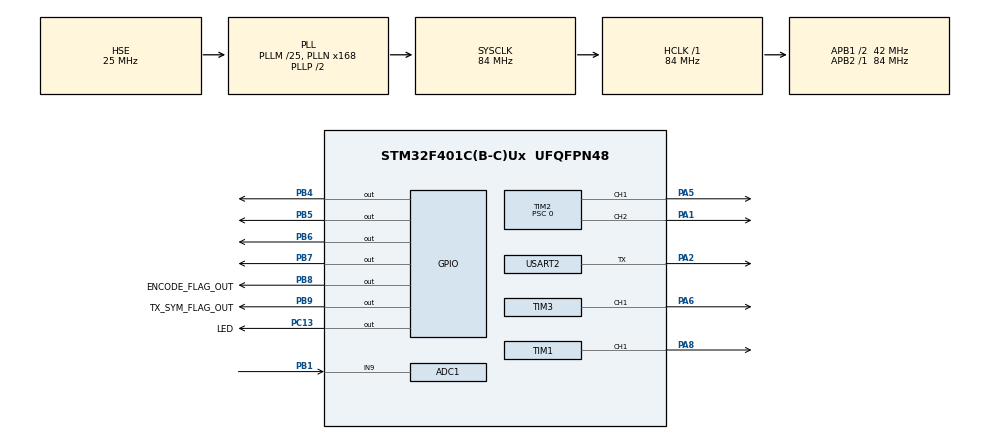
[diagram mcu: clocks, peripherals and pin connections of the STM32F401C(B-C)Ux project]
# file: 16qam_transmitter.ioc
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ADC1.Channel-1\#ChannelRegularConversion=ADC_CHANNEL_9
ADC1.ClockPrescaler=ADC_CLOCK_SYNC_PCLK_DIV8
ADC1.ContinuousConvMode=DISABLE
ADC1.DMAContinuousRequests=ENABLE
ADC1.ExternalTrigConv=ADC_EXTERNALTRIGCONV_T3_TRGO
ADC1.ExternalTrigConvEdge=ADC_EXTERNALTRIGCONVEDGE_RISING
ADC1.NbrOfConversion=1
ADC1.NbrOfConversionFlag=1
ADC1.Rank-1\#ChannelRegularConversion=1
ADC1.Resolution=ADC_RESOLUTION_8B
ADC1.SamplingTime-1\#ChannelRegularConversion=ADC_SAMPLETIME_144CYCLES
ADC1.master=1
Dma.ADC1.0.Direction=DMA_PERIPH_TO_MEMORY
Dma.ADC1.0.FIFOMode=DMA_FIFOMODE_DISABLE
Dma.ADC1.0.Instance=DMA2_Stream0
Dma.ADC1.0.MemDataAlignment=DMA_MDATAALIGN_HALFWORD
Dma.ADC1.0.MemInc=DMA_MINC_ENABLE
Dma.ADC1.0.Mode=DMA_CIRCULAR
Dma.ADC1.0.PeriphDataAlignment=DMA_PDATAALIGN_HALFWORD
Dma.ADC1.0.PeriphInc=DMA_PINC_DISABLE
Dma.ADC1.0.Priority=DMA_PRIORITY_MEDIUM
Dma.Request0=ADC1
Mcu.Family=STM32F4
Mcu.Name=STM32F401C(B-C)Ux
Mcu.Package=UFQFPN48
NVIC.DMA2_Stream0_IRQn=true\:1\:0\:true\:false\:true\:false\:true\:true
NVIC.PriorityGroup=NVIC_PRIORITYGROUP_4
NVIC.TIM1_UP_TIM10_IRQn=true\:0\:0\:false\:false\:true\:true\:true\:true
PA1.GPIO_Speed=GPIO_SPEED_FREQ_VERY_HIGH
PA1.Signal=S_TIM2_CH2
PA2.Mode=Half_duplex(single_wire_mode)
PA2.Signal=USART2_TX
PA5.GPIO_Speed=GPIO_SPEED_FREQ_VERY_HIGH
PA5.Signal=S_TIM2_CH1_ETR
PA6.Signal=S_TIM3_CH1
PA8.Signal=S_TIM1_CH1
PB1.Signal=ADCx_IN9
PB4.Signal=GPIO_Output
PB5.Signal=GPIO_Output
PB6.Signal=GPIO_Output
PB7.Signal=GPIO_Output
PB8.GPIO_Label=ENCODE_FLAG_OUT
PB8.GPIO_PuPd=GPIO_NOPULL
PB8.Signal=GPIO_Output
PB9.GPIO_Label=TX_SYM_FLAG_OUT
PB9.Signal=GPIO_Output
PC13-ANTI_TAMP.GPIO_Label=LED
PC13-ANTI_TAMP.Signal=GPIO_Output
PC14-OSC32_IN.Mode=LSE-External-Oscillator
PC14-OSC32_IN.Signal=RCC_OSC32_IN
PC15-OSC32_OUT.Mode=LSE-External-Oscillator
PC15-OSC32_OUT.Signal=RCC_OSC32_OUT
PH0\ -\ OSC_IN.Mode=HSE-External-Oscillator
PH0\ -\ OSC_IN.Signal=RCC_OSC_IN
PH1\ -\ OSC_OUT.Mode=HSE-External-Oscillator
PH1\ -\ OSC_OUT.Signal=RCC_OSC_OUT
ProjectManager.HeapSize=0x200
ProjectManager.StackSize=0x400
ProjectManager.TargetToolchain=STM32CubeIDE
RCC.48MHZClocksFreq_Value=42000000
RCC.AHBFreq_Value=84000000
RCC.APB1CLKDivider=RCC_HCLK_DIV2
RCC.APB1Freq_Value=42000000
RCC.APB1TimFreq_Value=84000000
RCC.APB2Freq_Value=84000000
RCC.APB2TimFreq_Value=84000000
RCC.CortexFreq_Value=84000000
RCC.HCLKFreq_Value=84000000
RCC.HSE_VALUE=25000000
RCC.HSI_VALUE=16000000
RCC.PLLM=25
RCC.PLLN=168
RCC.PLLSourceVirtual=RCC_PLLSOURCE_HSE
RCC.SYSCLKFreq_VALUE=84000000
RCC.SYSCLKSource=RCC_SYSCLKSOURCE_PLLCLK
RCC.VCOOutputFreq_Value=168000000
SH.ADCx_IN9.0=ADC1_IN9,IN9
SH.S_TIM1_CH1.0=TIM1_CH1,Output Compare1 CH1
SH.S_TIM2_CH1_ETR.0=TIM2_CH1,Output Compare1 CH1
SH.S_TIM2_CH2.0=TIM2_CH2,Output Compare2 CH2
SH.S_TIM3_CH1.0=TIM3_CH1,Output Compare1 CH1
TIM1.AutoReloadPreload=TIM_AUTORELOAD_PRELOAD_ENABLE
TIM1.Channel-Output\ Compare1\ CH1=TIM_CHANNEL_1
TIM1.OCIdleState_1=TIM_OCIDLESTATE_SET
TIM1.OCMode_1=TIM_OCMODE_TOGGLE
TIM1.Period=42-1
TIM1.Prescaler=10-1
TIM1.TIM_MasterOutputTrigger=TIM_TRGO_UPDATE
TIM1.TIM_MasterSlaveMode=TIM_MASTERSLAVEMODE_ENABLE
TIM2.AutoReloadPreload=TIM_AUTORELOAD_PRELOAD_ENABLE
TIM2.Channel-Output\ Compare1\ CH1=TIM_CHANNEL_1
TIM2.Channel-Output\ Compare2\ CH2=TIM_CHANNEL_2
TIM2.OCMode_1=TIM_OCMODE_TOGGLE
TIM2.OCMode_2=TIM_OCMODE_TOGGLE
TIM2.Period=9
TIM2.Prescaler=0
TIM2.Pulse-Output\ Compare2\ CH2=5
TIM2.TIM_MasterOutputTrigger=TIM_TRGO_RESET
TIM3.AutoReloadPreload=TIM_AUTORELOAD_PRELOAD_ENABLE
TIM3.Channel-Output\ Compare1\ CH1=TIM_CHANNEL_1
TIM3.OCMode_1=TIM_OCMODE_TOGGLE
TIM3.Period=5-1
TIM3.Prescaler=1-1
TIM3.TIM_MasterOutputTrigger=TIM_TRGO_UPDATE
TIM3.TIM_MasterSlaveMode=TIM_MASTERSLAVEMODE_ENABLE
USART2.Mode=MODE_TX
USART2.VirtualMode=VM_ASYNC
VP_CRC_VS_CRC.Mode=CRC_Activate
VP_TIM1_VS_ClockSourceINT.Mode=Internal
VP_TIM2_VS_ClockSourceINT.Mode=Internal
VP_TIM3_VS_ClockSourceITR.Mode=TriggerSource_ITR0
VP_TIM3_VS_ControllerModeClock.Mode=Clock Mode
board=custom

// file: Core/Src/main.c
/* USER CODE BEGIN Header */
/**
  ******************************************************************************
  * @file           : main.c
  * @brief          : Main program body
  ******************************************************************************
  * @attention
  *
  * Copyright (c) 2022 STMicroelectronics.
  * All rights reserved.
  *
  * This software is licensed under terms that can be found in the LICENSE file
  * in the root directory of this software component.
  * If no LICENSE file comes with this software, it is provided AS-IS.
  *
  ******************************************************************************
  */
/* USER CODE END Header */
#include "main.h"

/* USER CODE BEGIN Includes */
#include "crc8.h"
#include "conv_enc.h"
#include "scrambler.h"
/* USER CODE END Includes */

/* USER CODE BEGIN PD */
#define ADC_BUFFER_LENGTH 100
#define TX_SYM_BUFFER_LENGTH 250
/* USER CODE END PD */

ADC_HandleTypeDef hadc1;
DMA_HandleTypeDef hdma_adc1;

CRC_HandleTypeDef hcrc;

TIM_HandleTypeDef htim1;
TIM_HandleTypeDef htim2;
TIM_HandleTypeDef htim3;

UART_HandleTypeDef huart2;

/* USER CODE BEGIN PV */
// Circular buffer for ADC reading
uint16_t ADC_BUFFER[ADC_BUFFER_LENGTH*2] = {0};
// We unpack the 16QAM symbols into 4bit chunks
// Read as a circular buffer that is reset by ADC ISR
uint8_t TX_SYM_BUFFER[TX_SYM_BUFFER_LENGTH*2*2] = {0};

// We encode our data into this buffer before we unpack it into TX_SYM_BUFFER
uint8_t ENCODING_SCRATCH_BUFFER[TX_SYM_BUFFER_LENGTH] = {0};
// We convert our ADC readings into 8bit for encoding
uint8_t ADC_SCRATCH_BUFFER[ADC_BUFFER_LENGTH] = {0};

// Generate gray code for better FEC
uint8_t GRAY_CODE[16] = {0};

// Start from the second buffer for symbol transmit
// We alternate between halves of the ADC/TX_SYM buffer for double buffered processing
volatile int tx_sym_buffer_index = TX_SYM_BUFFER_LENGTH*2;
volatile int is_half_buffer_ready = 0;
volatile int is_full_buffer_ready = 0;

const uint32_t PREAMBLE_CODE = 0b11111001101011111100110101101101;
const uint16_t SCRAMBLER_CODE = 0b1000010101011001;
const uint8_t CRC8_POLY = 0xD5;
/* USER CODE END PV */

void SystemClock_Config(void);
static void MX_GPIO_Init(void);
static void MX_DMA_Init(void);
static void MX_ADC1_Init(void);
static void MX_USART2_UART_Init(void);
static void MX_TIM2_Init(void);
static void MX_CRC_Init(void);
static void MX_TIM3_Init(void);
static void MX_TIM1_Init(void);
/* USER CODE BEGIN PFP */
static void user_init(void);
static int generate_packet(uint8_t* x, const int N, uint8_t* y);
static void adc_buffer_convert(uint16_t* x, uint8_t* y, const int N);
static void qam_symbol_unpack(uint8_t* x, uint8_t* y, const int N);
/* USER CODE END PFP */

/* USER CODE BEGIN 0 */
void user_init(void) {
	crc8_generate_table(CRC8_POLY);
	conv_enc_calculate_table(0b111, 0b101);
	scrambler_init(SCRAMBLER_CODE);

	tx_sym_buffer_index = TX_SYM_BUFFER_LENGTH*2;

	// generate gray code for 2D
	uint8_t _gray_code[4] = {0b00, 0b01, 0b11, 0b10}; // 1D gray code
	for (uint8_t i = 0; i < 4; i++) {
		for (uint8_t q = 0; q < 4; q++) {
			uint8_t I = _gray_code[i];
			uint8_t Q = _gray_code[q];
			uint8_t idx = (i<<2) | q;
			uint8_t sym = (I<<2) | Q;
			// shift by 4 bits to align with output pins
			GRAY_CODE[idx] = sym;
		}
	}
}

// Our encoding pipeline
int generate_packet(uint8_t* x, const int N, uint8_t* y) {
	conv_enc_reset();
	scrambler_reset();

	// We cast this to uint16_t so we can write the trellis terminator along with it
	// NOTE: this uses a big endian notation so the null byte is located correctly without a shift
	uint8_t crc8 = crc8_calculate(x, N);
	uint8_t trellis_terminator = 0x00;
	uint16_t len = (uint16_t)(N);

	int offset = 0;
	// NOTE: We are generating this before hand to save a few instructions
	y[0] = (PREAMBLE_CODE >> 24) & 0xFF;
	y[1] = (PREAMBLE_CODE >> 16) & 0xFF;
	y[2] = (PREAMBLE_CODE >> 8 ) & 0xFF;
	y[3] = (PREAMBLE_CODE      ) & 0xFF;
	offset += 4;

	int scrambler_start = offset;

	// Encode then scramble the output
	offset += conv_enc_process((uint8_t*)(&len),	&y[offset], 2);
	offset += conv_enc_process(x,					&y[offset], N);
	offset += conv_enc_process(&crc8,				&y[offset], 1);
	offset += conv_enc_process(&trellis_terminator,	&y[offset], 1);

	int scrambler_end = offset;

	for (int i = scrambler_start; i < scrambler_end; i++) {
		y[i] = scrambler_process(y[i]);
	}

	return offset;
}

void adc_buffer_convert(uint16_t* x, uint8_t* y, const int N) {
	for (int i = 0; i < N; i++) {
		y[i] = x[i];
	}
}

void qam_symbol_unpack(uint8_t* x, uint8_t* y, const int N) {
	int j = 0;
	for (int i = 0; i < N; i++) {
		y[j++] = GRAY_CODE[x[i] >> 4];
		y[j++] = GRAY_CODE[x[i] & 0x0F];
	}
}
/* USER CODE END 0 */

int main(void)
{
  /* USER CODE BEGIN 1 */
	user_init();
  /* USER CODE END 1 */

  /* MCU Configuration--------------------------------------------------------*/

  /* Reset of all peripherals, Initializes the Flash interface and the Systick. */
  HAL_Init();

  /* Configure the system clock */
  SystemClock_Config();

  /* Initialize all configured peripherals */
  MX_GPIO_Init();
  MX_DMA_Init();
  MX_ADC1_Init();
  MX_USART2_UART_Init();
  MX_TIM2_Init();
  MX_CRC_Init();
  MX_TIM3_Init();
  MX_TIM1_Init();
  /* USER CODE BEGIN 2 */
  HAL_TIM_OC_Start(&htim1, TIM_CHANNEL_1);
  HAL_TIM_OC_Start(&htim2, TIM_CHANNEL_1);
  HAL_TIM_OC_Start(&htim2, TIM_CHANNEL_2);
  HAL_TIM_OC_Start(&htim3, TIM_CHANNEL_1);

  // Circular buffer for adc reading
  HAL_ADC_Start_DMA(&hadc1, (uint32_t*)ADC_BUFFER, ADC_BUFFER_LENGTH*2);

  HAL_TIM_Base_Start_IT(&htim1);

  // Define the halves of our ADC and TX_SYM buffer
  uint16_t* ADC_BUFFER_0 = &ADC_BUFFER[0];
  uint16_t* ADC_BUFFER_1 = &ADC_BUFFER[ADC_BUFFER_LENGTH];
  uint8_t*  TX_SYM_BUFFER_0 = &TX_SYM_BUFFER[0];
  uint8_t*  TX_SYM_BUFFER_1 = &TX_SYM_BUFFER[TX_SYM_BUFFER_LENGTH*2];
  uint8_t SAMPLE_MESSAGE[13] = {0};
  for (uint8_t i = 0; i < 13; i++) {
	  SAMPLE_MESSAGE[i] = 'a'+i;
  }

  int offset = 0;
  /* USER CODE END 2 */

  /* Infinite loop */
  while (1)
  {

    /* USER CODE BEGIN 3 */

	// adc:		  writes to second half of ADC_BUFFER
	// tx_isr:    reads from first half of TX_BUFFER
	// main_loop: reads from first half of ADC_BUFFER
	//			  writes to second half of TX_BUFFER
	while (!is_half_buffer_ready);
	is_half_buffer_ready = 0;

	HAL_GPIO_WritePin(ENCODE_FLAG_OUT_GPIO_Port, ENCODE_FLAG_OUT_Pin, GPIO_PIN_SET);

	offset = 0;
	adc_buffer_convert(ADC_BUFFER_0, ADC_SCRATCH_BUFFER, ADC_BUFFER_LENGTH);
	offset += generate_packet(ADC_SCRATCH_BUFFER, ADC_BUFFER_LENGTH, &ENCODING_SCRATCH_BUFFER[offset]);
	offset += generate_packet(SAMPLE_MESSAGE, 13, &ENCODING_SCRATCH_BUFFER[offset]);
	qam_symbol_unpack(ENCODING_SCRATCH_BUFFER, TX_SYM_BUFFER_1, TX_SYM_BUFFER_LENGTH);

	HAL_GPIO_WritePin(ENCODE_FLAG_OUT_GPIO_Port, ENCODE_FLAG_OUT_Pin, GPIO_PIN_RESET);

	// adc:		  writes to first half of ADC_BUFFER
	// tx_isr:    reads from second half of TX_BUFFER
	// main_loop: reads from second half of ADC_BUFFER
	//			  writes to first half of TX_BUFFER
	while (!is_full_buffer_ready);
	is_full_buffer_ready = 0;

	HAL_GPIO_WritePin(ENCODE_FLAG_OUT_GPIO_Port, ENCODE_FLAG_OUT_Pin, GPIO_PIN_SET);

	offset = 0;
	adc_buffer_convert(ADC_BUFFER_1, ADC_SCRATCH_BUFFER, ADC_BUFFER_LENGTH);
	offset += generate_packet(ADC_SCRATCH_BUFFER, ADC_BUFFER_LENGTH, &ENCODING_SCRATCH_BUFFER[offset]);
	offset += generate_packet(SAMPLE_MESSAGE, 13, &ENCODING_SCRATCH_BUFFER[offset]);
	qam_symbol_unpack(ENCODING_SCRATCH_BUFFER, TX_SYM_BUFFER_0, TX_SYM_BUFFER_LENGTH);

	HAL_GPIO_WritePin(ENCODE_FLAG_OUT_GPIO_Port, ENCODE_FLAG_OUT_Pin, GPIO_PIN_RESET);
  }
  /* USER CODE END 3 */
}

void SystemClock_Config(void)
{
  RCC_OscInitTypeDef RCC_OscInitStruct = {0};
  RCC_ClkInitTypeDef RCC_ClkInitStruct = {0};

  /** Configure the main internal regulator output voltage
  */
  __HAL_RCC_PWR_CLK_ENABLE();
  __HAL_PWR_VOLTAGESCALING_CONFIG(PWR_REGULATOR_VOLTAGE_SCALE2);

  /** Initializes the RCC Oscillators according to the specified parameters
  * in the RCC_OscInitTypeDef structure.
  */
  RCC_OscInitStruct.OscillatorType = RCC_OSCILLATORTYPE_HSE;
  RCC_OscInitStruct.HSEState = RCC_HSE_ON;
  RCC_OscInitStruct.PLL.PLLState = RCC_PLL_ON;
  RCC_OscInitStruct.PLL.PLLSource = RCC_PLLSOURCE_HSE;
  RCC_OscInitStruct.PLL.PLLM = 25;
  RCC_OscInitStruct.PLL.PLLN = 168;
  RCC_OscInitStruct.PLL.PLLP = RCC_PLLP_DIV2;
  RCC_OscInitStruct.PLL.PLLQ = 4;
  if (HAL_RCC_OscConfig(&RCC_OscInitStruct) != HAL_OK)
  {
    Error_Handler();
  }

  /** Initializes the CPU, AHB and APB buses clocks
  */
  RCC_ClkInitStruct.ClockType = RCC_CLOCKTYPE_HCLK|RCC_CLOCKTYPE_SYSCLK
                              |RCC_CLOCKTYPE_PCLK1|RCC_CLOCKTYPE_PCLK2;
  RCC_ClkInitStruct.SYSCLKSource = RCC_SYSCLKSOURCE_PLLCLK;
  RCC_ClkInitStruct.AHBCLKDivider = RCC_SYSCLK_DIV1;
  RCC_ClkInitStruct.APB1CLKDivider = RCC_HCLK_DIV2;
  RCC_ClkInitStruct.APB2CLKDivider = RCC_HCLK_DIV1;

  if (HAL_RCC_ClockConfig(&RCC_ClkInitStruct, FLASH_LATENCY_2) != HAL_OK)
  {
    Error_Handler();
  }
}

static void MX_ADC1_Init(void)
{

  ADC_ChannelConfTypeDef sConfig = {0};

  /** Configure the global features of the ADC (Clock, Resolution, Data Alignment and number of conversion)
  */
  hadc1.Instance = ADC1;
  hadc1.Init.ClockPrescaler = ADC_CLOCK_SYNC_PCLK_DIV8;
  hadc1.Init.Resolution = ADC_RESOLUTION_8B;
  hadc1.Init.ScanConvMode = DISABLE;
  hadc1.Init.ContinuousConvMode = DISABLE;
  hadc1.Init.DiscontinuousConvMode = DISABLE;
  hadc1.Init.ExternalTrigConvEdge = ADC_EXTERNALTRIGCONVEDGE_RISING;
  hadc1.Init.ExternalTrigConv = ADC_EXTERNALTRIGCONV_T3_TRGO;
  hadc1.Init.DataAlign = ADC_DATAALIGN_RIGHT;
  hadc1.Init.NbrOfConversion = 1;
  hadc1.Init.DMAContinuousRequests = ENABLE;
  hadc1.Init.EOCSelection = ADC_EOC_SINGLE_CONV;
  if (HAL_ADC_Init(&hadc1) != HAL_OK)
  {
    Error_Handler();
  }

  /** Configure for the selected ADC regular channel its corresponding rank in the sequencer and its sample time.
  */
  sConfig.Channel = ADC_CHANNEL_9;
  sConfig.Rank = 1;
  sConfig.SamplingTime = ADC_SAMPLETIME_144CYCLES;
  if (HAL_ADC_ConfigChannel(&hadc1, &sConfig) != HAL_OK)
  {
    Error_Handler();
  }

}

static void MX_CRC_Init(void)
{

  hcrc.Instance = CRC;
  if (HAL_CRC_Init(&hcrc) != HAL_OK)
  {
    Error_Handler();
  }

}

static void MX_TIM1_Init(void)
{

  TIM_ClockConfigTypeDef sClockSourceConfig = {0};
  TIM_MasterConfigTypeDef sMasterConfig = {0};
  TIM_OC_InitTypeDef sConfigOC = {0};
  TIM_BreakDeadTimeConfigTypeDef sBreakDeadTimeConfig = {0};

  htim1.Instance = TIM1;
  htim1.Init.Prescaler = 10-1;
  htim1.Init.CounterMode = TIM_COUNTERMODE_UP;
  htim1.Init.Period = 42-1;
  htim1.Init.ClockDivision = TIM_CLOCKDIVISION_DIV1;
  htim1.Init.RepetitionCounter = 0;
  htim1.Init.AutoReloadPreload = TIM_AUTORELOAD_PRELOAD_ENABLE;
  if (HAL_TIM_Base_Init(&htim1) != HAL_OK)
  {
    Error_Handler();
  }
  sClockSourceConfig.ClockSource = TIM_CLOCKSOURCE_INTERNAL;
  if (HAL_TIM_ConfigClockSource(&htim1, &sClockSourceConfig) != HAL_OK)
  {
    Error_Handler();
  }
  if (HAL_TIM_OC_Init(&htim1) != HAL_OK)
  {
    Error_Handler();
  }
  sMasterConfig.MasterOutputTrigger = TIM_TRGO_UPDATE;
  sMasterConfig.MasterSlaveMode = TIM_MASTERSLAVEMODE_ENABLE;
  if (HAL_TIMEx_MasterConfigSynchronization(&htim1, &sMasterConfig) != HAL_OK)
  {
    Error_Handler();
  }
  sConfigOC.OCMode = TIM_OCMODE_TOGGLE;
  sConfigOC.Pulse = 0;
  sConfigOC.OCPolarity = TIM_OCPOLARITY_HIGH;
  sConfigOC.OCNPolarity = TIM_OCNPOLARITY_HIGH;
  sConfigOC.OCFastMode = TIM_OCFAST_DISABLE;
  sConfigOC.OCIdleState = TIM_OCIDLESTATE_SET;
  sConfigOC.OCNIdleState = TIM_OCNIDLESTATE_RESET;
  if (HAL_TIM_OC_ConfigChannel(&htim1, &sConfigOC, TIM_CHANNEL_1) != HAL_OK)
  {
    Error_Handler();
  }
  sBreakDeadTimeConfig.OffStateRunMode = TIM_OSSR_DISABLE;
  sBreakDeadTimeConfig.OffStateIDLEMode = TIM_OSSI_DISABLE;
  sBreakDeadTimeConfig.LockLevel = TIM_LOCKLEVEL_OFF;
  sBreakDeadTimeConfig.DeadTime = 0;
  sBreakDeadTimeConfig.BreakState = TIM_BREAK_DISABLE;
  sBreakDeadTimeConfig.BreakPolarity = TIM_BREAKPOLARITY_HIGH;
  sBreakDeadTimeConfig.AutomaticOutput = TIM_AUTOMATICOUTPUT_DISABLE;
  if (HAL_TIMEx_ConfigBreakDeadTime(&htim1, &sBreakDeadTimeConfig) != HAL_OK)
  {
    Error_Handler();
  }
  HAL_TIM_MspPostInit(&htim1);

}

static void MX_TIM2_Init(void)
{

  TIM_ClockConfigTypeDef sClockSourceConfig = {0};
  TIM_MasterConfigTypeDef sMasterConfig = {0};
  TIM_OC_InitTypeDef sConfigOC = {0};

  htim2.Instance = TIM2;
  htim2.Init.Prescaler = 0;
  htim2.Init.CounterMode = TIM_COUNTERMODE_UP;
  htim2.Init.Period = 9;
  htim2.Init.ClockDivision = TIM_CLOCKDIVISION_DIV1;
  htim2.Init.AutoReloadPreload = TIM_AUTORELOAD_PRELOAD_ENABLE;
  if (HAL_TIM_Base_Init(&htim2) != HAL_OK)
  {
    Error_Handler();
  }
  sClockSourceConfig.ClockSource = TIM_CLOCKSOURCE_INTERNAL;
  if (HAL_TIM_ConfigClockSource(&htim2, &sClockSourceConfig) != HAL_OK)
  {
    Error_Handler();
  }
  if (HAL_TIM_OC_Init(&htim2) != HAL_OK)
  {
    Error_Handler();
  }
  sMasterConfig.MasterOutputTrigger = TIM_TRGO_RESET;
  sMasterConfig.MasterSlaveMode = TIM_MASTERSLAVEMODE_DISABLE;
  if (HAL_TIMEx_MasterConfigSynchronization(&htim2, &sMasterConfig) != HAL_OK)
  {
    Error_Handler();
  }
  sConfigOC.OCMode = TIM_OCMODE_TOGGLE;
  sConfigOC.Pulse = 0;
  sConfigOC.OCPolarity = TIM_OCPOLARITY_HIGH;
  sConfigOC.OCFastMode = TIM_OCFAST_DISABLE;
  if (HAL_TIM_OC_ConfigChannel(&htim2, &sConfigOC, TIM_CHANNEL_1) != HAL_OK)
  {
    Error_Handler();
  }
  sConfigOC.Pulse = 5;
  if (HAL_TIM_OC_ConfigChannel(&htim2, &sConfigOC, TIM_CHANNEL_2) != HAL_OK)
  {
    Error_Handler();
  }
  HAL_TIM_MspPostInit(&htim2);

}

static void MX_TIM3_Init(void)
{

  TIM_SlaveConfigTypeDef sSlaveConfig = {0};
  TIM_MasterConfigTypeDef sMasterConfig = {0};
  TIM_OC_InitTypeDef sConfigOC = {0};

  htim3.Instance = TIM3;
  htim3.Init.Prescaler = 1-1;
  htim3.Init.CounterMode = TIM_COUNTERMODE_UP;
  htim3.Init.Period = 5-1;
  htim3.Init.ClockDivision = TIM_CLOCKDIVISION_DIV1;
  htim3.Init.AutoReloadPreload = TIM_AUTORELOAD_PRELOAD_ENABLE;
  if (HAL_TIM_Base_Init(&htim3) != HAL_OK)
  {
    Error_Handler();
  }
  if (HAL_TIM_OC_Init(&htim3) != HAL_OK)
  {
    Error_Handler();
  }
  sSlaveConfig.SlaveMode = TIM_SLAVEMODE_EXTERNAL1;
  sSlaveConfig.InputTrigger = TIM_TS_ITR0;
  if (HAL_TIM_SlaveConfigSynchro(&htim3, &sSlaveConfig) != HAL_OK)
  {
    Error_Handler();
  }
  sMasterConfig.MasterOutputTrigger = TIM_TRGO_UPDATE;
  sMasterConfig.MasterSlaveMode = TIM_MASTERSLAVEMODE_ENABLE;
  if (HAL_TIMEx_MasterConfigSynchronization(&htim3, &sMasterConfig) != HAL_OK)
  {
    Error_Handler();
  }
  sConfigOC.OCMode = TIM_OCMODE_TOGGLE;
  sConfigOC.Pulse = 0;
  sConfigOC.OCPolarity = TIM_OCPOLARITY_HIGH;
  sConfigOC.OCFastMode = TIM_OCFAST_DISABLE;
  if (HAL_TIM_OC_ConfigChannel(&htim3, &sConfigOC, TIM_CHANNEL_1) != HAL_OK)
  {
    Error_Handler();
  }
  HAL_TIM_MspPostInit(&htim3);

}

static void MX_USART2_UART_Init(void)
{

  huart2.Instance = USART2;
  huart2.Init.BaudRate = 115200;
  huart2.Init.WordLength = UART_WORDLENGTH_8B;
  huart2.Init.StopBits = UART_STOPBITS_1;
  huart2.Init.Parity = UART_PARITY_NONE;
  huart2.Init.Mode = UART_MODE_TX;
  huart2.Init.HwFlowCtl = UART_HWCONTROL_NONE;
  huart2.Init.OverSampling = UART_OVERSAMPLING_16;
  if (HAL_HalfDuplex_Init(&huart2) != HAL_OK)
  {
    Error_Handler();
  }

}

static void MX_DMA_Init(void)
{

  /* DMA controller clock enable */
  __HAL_RCC_DMA2_CLK_ENABLE();

  /* DMA interrupt init */
  /* DMA2_Stream0_IRQn interrupt configuration */
  HAL_NVIC_SetPriority(DMA2_Stream0_IRQn, 1, 0);
  HAL_NVIC_EnableIRQ(DMA2_Stream0_IRQn);

}

static void MX_GPIO_Init(void)
{
  GPIO_InitTypeDef GPIO_InitStruct = {0};

  /* GPIO Ports Clock Enable */
  __HAL_RCC_GPIOC_CLK_ENABLE();
  __HAL_RCC_GPIOH_CLK_ENABLE();
  __HAL_RCC_GPIOA_CLK_ENABLE();
  __HAL_RCC_GPIOB_CLK_ENABLE();

  /*Configure GPIO pin Output Level */
  HAL_GPIO_WritePin(LED_GPIO_Port, LED_Pin, GPIO_PIN_RESET);

  /*Configure GPIO pin Output Level */
  HAL_GPIO_WritePin(GPIOB, GPIO_PIN_4|GPIO_PIN_5|GPIO_PIN_6|GPIO_PIN_7
                          |ENCODE_FLAG_OUT_Pin|TX_SYM_FLAG_OUT_Pin, GPIO_PIN_RESET);

  /*Configure GPIO pin : LED_Pin */
  GPIO_InitStruct.Pin = LED_Pin;
  GPIO_InitStruct.Mode = GPIO_MODE_OUTPUT_PP;
  GPIO_InitStruct.Pull = GPIO_NOPULL;
  GPIO_InitStruct.Speed = GPIO_SPEED_FREQ_LOW;
  HAL_GPIO_Init(LED_GPIO_Port, &GPIO_InitStruct);

  /*Configure GPIO pins : PB4 PB5 PB6 PB7
                           ENCODE_FLAG_OUT_Pin TX_SYM_FLAG_OUT_Pin */
  GPIO_InitStruct.Pin = GPIO_PIN_4|GPIO_PIN_5|GPIO_PIN_6|GPIO_PIN_7
                          |ENCODE_FLAG_OUT_Pin|TX_SYM_FLAG_OUT_Pin;
  GPIO_InitStruct.Mode = GPIO_MODE_OUTPUT_PP;
  GPIO_InitStruct.Pull = GPIO_NOPULL;
  GPIO_InitStruct.Speed = GPIO_SPEED_FREQ_LOW;
  HAL_GPIO_Init(GPIOB, &GPIO_InitStruct);

}

/* USER CODE BEGIN 4 */
// adc:		  writes to second half of ADC_BUFFER
// tx_isr:    reads from first half of TX_BUFFER
// main_loop: reads from first half of ADC_BUFFER
//			  writes to second half of TX_BUFFER
void HAL_ADC_ConvHalfCpltCallback(ADC_HandleTypeDef* hadc) {
	//tx_sym_buffer_index = 0;
	is_half_buffer_ready = 1;
	HAL_GPIO_WritePin(LED_GPIO_Port, LED_Pin, GPIO_PIN_SET);
}

// adc:		  writes to first half of ADC_BUFFER
// tx_isr:    reads from second half of TX_BUFFER
// main_loop: reads from second half of ADC_BUFFER
//			  writes to first half of TX_BUFFER
void HAL_ADC_ConvCpltCallback(ADC_HandleTypeDef* hadc) {
	is_full_buffer_ready = 1;
	HAL_GPIO_WritePin(LED_GPIO_Port, LED_Pin, GPIO_PIN_RESET);
}

void HAL_TIM_PeriodElapsedCallback(TIM_HandleTypeDef *htim) {
	//HAL_GPIO_TogglePin(GPIOB, GPIO_PIN_4|GPIO_PIN_5|GPIO_PIN_6|GPIO_PIN_7);
	HAL_GPIO_WritePin(TX_SYM_FLAG_OUT_GPIO_Port, TX_SYM_FLAG_OUT_Pin, GPIO_PIN_SET);

	// b now is equivalent to GPIO_PIN_4|GPIO_PIN_5|GPIO_PIN_6|GPIO_PIN_7
	const uint8_t b = TX_SYM_BUFFER[tx_sym_buffer_index];
	const uint8_t b_set = b << 4;
	const uint8_t b_reset = ~b << 4;
	const uint32_t v = ((uint32_t)b_reset << 16) | (uint32_t)(b_set);
	// 0xFFFF0000 resets pin, 0x0000FFFF sets pin
	GPIOB->BSRR = v;
	tx_sym_buffer_index = (tx_sym_buffer_index+1) % (TX_SYM_BUFFER_LENGTH*2*2);
	//tx_sym_buffer_index++;

	HAL_GPIO_WritePin(TX_SYM_FLAG_OUT_GPIO_Port, TX_SYM_FLAG_OUT_Pin, GPIO_PIN_RESET);
}

/* USER CODE END 4 */

void Error_Handler(void)
{
  __disable_irq();
  while (1)
  {
  }
}
